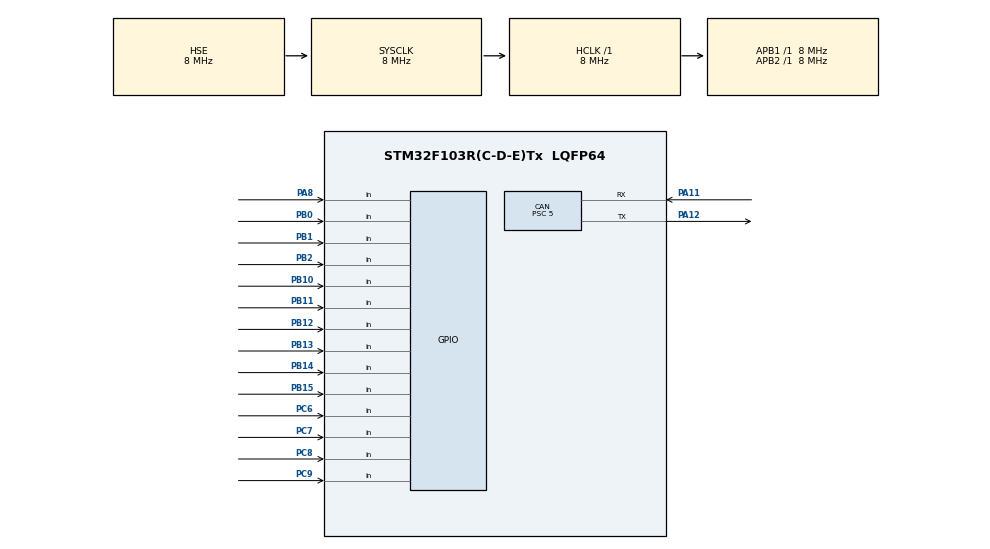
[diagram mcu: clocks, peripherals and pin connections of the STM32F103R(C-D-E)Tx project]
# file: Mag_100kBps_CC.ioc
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CAN.BS1=CAN_BS1_13TQ
CAN.BS2=CAN_BS2_2TQ
CAN.CalculateBaudRate=100000
CAN.CalculateTimeBit=10000
CAN.CalculateTimeQuantum=625.0
CAN.Prescaler=5
Mcu.Family=STM32F1
Mcu.Name=STM32F103R(C-D-E)Tx
Mcu.Package=LQFP64
NVIC.PriorityGroup=NVIC_PRIORITYGROUP_4
NVIC.USB_HP_CAN1_TX_IRQn=true\:0\:0\:false\:false\:true\:true\:true\:true
NVIC.USB_LP_CAN1_RX0_IRQn=true\:0\:0\:false\:false\:true\:true\:true\:true
PA11.Mode=CAN_Activate
PA11.Signal=CAN_RX
PA12.Mode=CAN_Activate
PA12.Signal=CAN_TX
PA13.Mode=Serial_Wire
PA13.Signal=SYS_JTMS-SWDIO
PA14.Mode=Serial_Wire
PA14.Signal=SYS_JTCK-SWCLK
PA8.Signal=GPIO_Input
PB0.Signal=GPIO_Input
PB1.Signal=GPIO_Input
PB10.Signal=GPIO_Input
PB11.Signal=GPIO_Input
PB12.Signal=GPIO_Input
PB13.Signal=GPIO_Input
PB14.Signal=GPIO_Input
PB15.Signal=GPIO_Input
PB2.Signal=GPIO_Input
PC6.Signal=GPIO_Input
PC7.Signal=GPIO_Input
PC8.Signal=GPIO_Input
PC9.Signal=GPIO_Input
PD0-OSC_IN.Mode=HSE-External-Oscillator
PD0-OSC_IN.Signal=RCC_OSC_IN
PD1-OSC_OUT.Mode=HSE-External-Oscillator
PD1-OSC_OUT.Signal=RCC_OSC_OUT
ProjectManager.HeapSize=0x200
ProjectManager.StackSize=0x400
ProjectManager.TargetToolchain=CMake
RCC.AHBFreq_Value=8000000
RCC.APB1Freq_Value=8000000
RCC.APB1TimFreq_Value=8000000
RCC.APB2Freq_Value=8000000
RCC.APB2TimFreq_Value=8000000
RCC.HCLKFreq_Value=8000000
RCC.PLLSourceVirtual=RCC_PLLSOURCE_HSE
RCC.RCC_MCOSource=RCC_MCO1SOURCE_PLLCLK
RCC.SYSCLKFreq_VALUE=8000000
RCC.SYSCLKSource=RCC_SYSCLKSOURCE_HSE
RCC.USBFreq_Value=16000000
board=custom

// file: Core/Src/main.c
/* USER CODE BEGIN Header */
/**
  ******************************************************************************
  * @file           : main.c
  * @brief          : Main program body
  ******************************************************************************
  * @attention
  *
  * Copyright (c) 2026 STMicroelectronics.
  * All rights reserved.
  *
  * This software is licensed under terms that can be found in the LICENSE file
  * in the root directory of this software component.
  * If no LICENSE file comes with this software, it is provided AS-IS.
  *
  ******************************************************************************
  */
/* USER CODE END Header */
#include "main.h"

/* USER CODE BEGIN Includes */
#include <stdint.h>
#include <stdio.h>

/* USER CODE END Includes */

CAN_HandleTypeDef hcan;

/* USER CODE BEGIN PV */
uint8_t Kombinacja = 0;
uint8_t flaga_zmiany_zegara = 0;
uint8_t flaga_zmiany_CAN = 0;
uint8_t flaga_zmiany_DLC = 0;
uint32_t CAN_Prescaler;
CAN_TxHeaderTypeDef TxHeader;
CAN_RxHeaderTypeDef RxHeader;
CAN_TxHeaderTypeDef tempTxHeader;
uint32_t TxMailbox;
uint8_t TxData[8] = {0x55, 0x55, 0x55, 0x55,
                     0x55, 0x55, 0x55, 0x55};
uint8_t RxData[8];
uint8_t temp_TxData[8];
uint32_t StartTick = 0;
uint32_t Delay = 1000;
uint32_t tick = 0;
/* USER CODE END PV */

void SystemClock_Config(void);
static void MX_GPIO_Init(void);
static void MX_CAN_Init(void);
/* USER CODE BEGIN PFP */
void Przestaw_zegar(uint8_t Kombinacja);
void Przestaw_CAN(uint32_t CAN_Prescaler);
/* USER CODE END PFP */

int main(void)
{

  /* MCU Configuration--------------------------------------------------------*/

  /* Reset of all peripherals, Initializes the Flash interface and the Systick. */
  HAL_Init();

  /* Configure the system clock */
  SystemClock_Config();

  /* Initialize all configured peripherals */
  MX_GPIO_Init();
  MX_CAN_Init();
  /* USER CODE BEGIN 2 */

  HAL_CAN_ActivateNotification(&hcan, CAN_IT_RX_FIFO0_MSG_PENDING);
  // Start the CAN peripheral
  HAL_CAN_Start(&hcan);
  // Configure initial CAN message header and data
  TxHeader.StdId = 0xf; // Standard ID
  TxHeader.DLC = 8; // Data length
  TxHeader.IDE = CAN_ID_STD; // Standard ID
  TxHeader.RTR = CAN_RTR_DATA; // Data frame
  /* USER CODE END 2 */

  /* Infinite loop */
  /* USER CODE BEGIN WHILE */
  while (1)
  {
    // Transmit the CAN message
    tick = HAL_GetTick();
    if(tick - StartTick >= Delay)
    {
      StartTick = HAL_GetTick();
      HAL_CAN_AddTxMessage(&hcan, &TxHeader, TxData, &TxMailbox);
    }
    if (flaga_zmiany_zegara)
    {
      Przestaw_zegar(Kombinacja);
      flaga_zmiany_zegara = 0;
    }
    if (flaga_zmiany_CAN)
    {
      Przestaw_CAN(CAN_Prescaler);
      flaga_zmiany_CAN = 0;
    }
    if (flaga_zmiany_DLC)
    {
      TxHeader.DLC = RxData[0]; // DLC can only be between 0 and 8
      flaga_zmiany_DLC = 0;
    }

    /* USER CODE END WHILE */

  }
}

void SystemClock_Config(void)
{
  RCC_OscInitTypeDef RCC_OscInitStruct = {0};
  RCC_ClkInitTypeDef RCC_ClkInitStruct = {0};

  /** Initializes the RCC Oscillators according to the specified parameters
  * in the RCC_OscInitTypeDef structure.
  */
  RCC_OscInitStruct.OscillatorType = RCC_OSCILLATORTYPE_HSE;
  RCC_OscInitStruct.HSEState = RCC_HSE_ON;
  RCC_OscInitStruct.PLL.PLLState = RCC_PLL_NONE;
  if (HAL_RCC_OscConfig(&RCC_OscInitStruct) != HAL_OK)
  {
    Error_Handler();
  }

  /** Initializes the CPU, AHB and APB buses clocks
  */
  RCC_ClkInitStruct.ClockType = RCC_CLOCKTYPE_HCLK|RCC_CLOCKTYPE_SYSCLK
                              |RCC_CLOCKTYPE_PCLK1|RCC_CLOCKTYPE_PCLK2;
  RCC_ClkInitStruct.SYSCLKSource = RCC_SYSCLKSOURCE_HSE;
  RCC_ClkInitStruct.AHBCLKDivider = RCC_SYSCLK_DIV1;
  RCC_ClkInitStruct.APB1CLKDivider = RCC_HCLK_DIV1;
  RCC_ClkInitStruct.APB2CLKDivider = RCC_HCLK_DIV1;

  if (HAL_RCC_ClockConfig(&RCC_ClkInitStruct, FLASH_LATENCY_0) != HAL_OK)
  {
    Error_Handler();
  }
}

static void MX_CAN_Init(void)
{

  hcan.Instance = CAN1;
  hcan.Init.Prescaler = 5;
  hcan.Init.Mode = CAN_MODE_NORMAL;
  hcan.Init.SyncJumpWidth = CAN_SJW_1TQ;
  hcan.Init.TimeSeg1 = CAN_BS1_13TQ;
  hcan.Init.TimeSeg2 = CAN_BS2_2TQ;
  hcan.Init.TimeTriggeredMode = DISABLE;
  hcan.Init.AutoBusOff = DISABLE;
  hcan.Init.AutoWakeUp = DISABLE;
  hcan.Init.AutoRetransmission = DISABLE;
  hcan.Init.ReceiveFifoLocked = DISABLE;
  hcan.Init.TransmitFifoPriority = DISABLE;
  if (HAL_CAN_Init(&hcan) != HAL_OK)
  {
    Error_Handler();
  }
  /* USER CODE BEGIN CAN_Init 2 */
  CAN_FilterTypeDef CanFilterConfig;

  CanFilterConfig.FilterActivation = CAN_FILTER_ENABLE;
  CanFilterConfig.FilterBank = 0;
  CanFilterConfig.FilterFIFOAssignment = CAN_FilterFIFO0;
  CanFilterConfig.FilterIdHigh = 0xFF0 << 5;
  CanFilterConfig.FilterIdLow = 0;
  CanFilterConfig.FilterMaskIdHigh = 0;
  CanFilterConfig.FilterMaskIdLow = 0;
  CanFilterConfig.FilterMode = CAN_FILTERMODE_IDMASK;
  CanFilterConfig.FilterScale = CAN_FILTERSCALE_32BIT;

  if (HAL_CAN_ConfigFilter(&hcan, &CanFilterConfig) != HAL_OK)
  {
    Error_Handler();
  }
  /* USER CODE END CAN_Init 2 */

}

static void MX_GPIO_Init(void)
{
  GPIO_InitTypeDef GPIO_InitStruct = {0};

  /* GPIO Ports Clock Enable */
  __HAL_RCC_GPIOD_CLK_ENABLE();
  __HAL_RCC_GPIOB_CLK_ENABLE();
  __HAL_RCC_GPIOC_CLK_ENABLE();
  __HAL_RCC_GPIOA_CLK_ENABLE();

  /*Configure GPIO pins : PB0 PB1 PB2 PB10
                           PB11 PB12 PB13 PB14
                           PB15 */
  GPIO_InitStruct.Pin = GPIO_PIN_0|GPIO_PIN_1|GPIO_PIN_2|GPIO_PIN_10
                          |GPIO_PIN_11|GPIO_PIN_12|GPIO_PIN_13|GPIO_PIN_14
                          |GPIO_PIN_15;
  GPIO_InitStruct.Mode = GPIO_MODE_INPUT;
  GPIO_InitStruct.Pull = GPIO_NOPULL;
  HAL_GPIO_Init(GPIOB, &GPIO_InitStruct);

  /*Configure GPIO pins : PC6 PC7 PC8 PC9 */
  GPIO_InitStruct.Pin = GPIO_PIN_6|GPIO_PIN_7|GPIO_PIN_8|GPIO_PIN_9;
  GPIO_InitStruct.Mode = GPIO_MODE_INPUT;
  GPIO_InitStruct.Pull = GPIO_NOPULL;
  HAL_GPIO_Init(GPIOC, &GPIO_InitStruct);

  /*Configure GPIO pin : PA8 */
  GPIO_InitStruct.Pin = GPIO_PIN_8;
  GPIO_InitStruct.Mode = GPIO_MODE_INPUT;
  GPIO_InitStruct.Pull = GPIO_NOPULL;
  HAL_GPIO_Init(GPIOA, &GPIO_InitStruct);

}

/* USER CODE BEGIN 4 */

/**
  * @brief Function to switch the system clock to a different frequency (8 MHz, 16 MHz, 32 MHz, or 64 MHz)
  * @param MHz: Desired system clock frequency in MHz (8, 16, 32, or 64)
  * @retval None
*/
void Przestaw_zegar(uint8_t Kombinacja)
{
  RCC_OscInitTypeDef RCC_OscInitStruct = {0}; // Struktura do nowej konfiguracji oscylatorów
  RCC_ClkInitTypeDef RCC_ClkInitStruct = {0}; // Struktura do nowej konfiguracji zegarów
  RCC_OscInitTypeDef RCC_OscInitStructOld = {0}; // Struktura do przechowania oryginalnej konfiguracji oscylatorów
  RCC_ClkInitTypeDef RCC_ClkInitStructOld = {0}; // Struktura do przechowania oryginalnej konfiguracji zegarów
  uint32_t pFlatency;

  /*
    Procedura:
        - Odczytanie aktualnej konfiguracji
        - Włącz HSI, HSE i PLL (HAL_RCC_OscConfig)
        - Ustaw wybrany zegar jako źródło SYSCLK (HAL_RCC_ClockConfig)
        -
        - Przestawienie źródła MCO na SYSCLK (nie będzie tego w programie właściwym)
        - Przestawienie CANa na nowy zegar dla case 10, 11
        - Przestawienie źródła MCO

  */

  // Odczytanie aktualnej konfiguracji
  HAL_RCC_GetClockConfig(&RCC_ClkInitStructOld, &pFlatency);
  HAL_RCC_GetOscConfig(&RCC_OscInitStructOld);

  RCC_ClkInitStruct = RCC_ClkInitStructOld;
  RCC_OscInitStruct = RCC_OscInitStructOld;

  RCC_ClkInitStruct.ClockType = RCC_CLOCKTYPE_HCLK|RCC_CLOCKTYPE_SYSCLK
                              |RCC_CLOCKTYPE_PCLK1|RCC_CLOCKTYPE_PCLK2;
  RCC_OscInitStruct.OscillatorType = RCC_OSCILLATORTYPE_HSE | RCC_OSCILLATORTYPE_HSI;
  // Włącz HSI, HSE i PLL
  RCC_OscInitStruct.HSEState = RCC_HSE_ON;
  RCC_OscInitStruct.HSEPredivValue = RCC_HSE_PREDIV_DIV1;
  RCC_OscInitStruct.HSIState = RCC_HSI_ON;
  RCC_OscInitStruct.PLL.PLLState = RCC_PLL_ON;

  // Ustaw HSI jako źródło SYSCLK (jeśli nie jest) i wszystkie dzielniki na 1
  if(RCC_ClkInitStruct.SYSCLKSource != RCC_SYSCLKSOURCE_HSI)
  {
    RCC_ClkInitStruct.SYSCLKSource = RCC_SYSCLKSOURCE_HSI;
    RCC_ClkInitStruct.AHBCLKDivider = RCC_SYSCLK_DIV1;
    RCC_ClkInitStruct.APB1CLKDivider = RCC_HCLK_DIV1;
    RCC_ClkInitStruct.APB2CLKDivider = RCC_HCLK_DIV1;
    if (HAL_RCC_ClockConfig(&RCC_ClkInitStruct, FLASH_LATENCY_0) != HAL_OK)
    {
      Error_Handler();
    }
  }
  // Przestawienie źródła MCO na SYSCLK (nie będzie tego w programie właściwym)
  // HAL_RCC_MCOConfig(RCC_MCO, RCC_MCO1SOURCE_SYSCLK, RCC_MCODIV_1);
  // Wyłączenie PLLki (jeśli włączona)
  if(RCC_OscInitStruct.PLL.PLLState != RCC_PLL_OFF)
  {
    RCC_OscInitStruct.PLL.PLLState = RCC_PLL_OFF;
    if (HAL_RCC_OscConfig(&RCC_OscInitStruct) != HAL_OK)
    {
      Error_Handler();
    }
  }
  // No i tera można se ustawiać co się chce
  // Wspólne ustawienia dla wszystkich kombinacji
  RCC_OscInitStruct.OscillatorType = RCC_OSCILLATORTYPE_HSE | RCC_OSCILLATORTYPE_HSI;
  RCC_ClkInitStruct.ClockType = RCC_CLOCKTYPE_HCLK|RCC_CLOCKTYPE_SYSCLK
                              |RCC_CLOCKTYPE_PCLK1|RCC_CLOCKTYPE_PCLK2;
  switch (Kombinacja)
  {
    case 0: // Minimalna emisja - Tylko HSI (PLL wyłączone) - punkt odniesienia

      RCC_OscInitStruct.HSEState = RCC_HSE_OFF;
      RCC_OscInitStruct.HSEPredivValue = RCC_HSE_PREDIV_DIV1;
      RCC_OscInitStruct.HSIState = RCC_HSI_ON;
      RCC_OscInitStruct.PLL.PLLState = RCC_PLL_OFF;

      RCC_ClkInitStruct.SYSCLKSource = RCC_SYSCLKSOURCE_HSI;
      RCC_ClkInitStruct.AHBCLKDivider = RCC_SYSCLK_DIV1;
      RCC_ClkInitStruct.APB1CLKDivider = RCC_HCLK_DIV1;

      break;

    case 1: // PLL włączone ale nie wykorzystane jako źródło SYSCLK

      RCC_OscInitStruct.HSEState = RCC_HSE_OFF;
      RCC_OscInitStruct.HSEPredivValue = RCC_HSE_PREDIV_DIV1;
      RCC_OscInitStruct.HSIState = RCC_HSI_ON;
      RCC_OscInitStruct.PLL.PLLState = RCC_PLL_ON;
      RCC_OscInitStruct.PLL.PLLSource = RCC_PLLSOURCE_HSI_DIV2;
      RCC_OscInitStruct.PLL.PLLMUL = RCC_PLL_MUL2;

      RCC_ClkInitStruct.SYSCLKSource = RCC_SYSCLKSOURCE_HSI;
      RCC_ClkInitStruct.AHBCLKDivider = RCC_SYSCLK_DIV1;
      RCC_ClkInitStruct.APB1CLKDivider = RCC_HCLK_DIV1;

      break;

    case 2: // Zbadanie wpływu samej PLLki jako wejścia zegarowego przy utrzymaniu tej samej częstotliwości zegarów

      RCC_OscInitStruct.HSEState = RCC_HSE_OFF;
      RCC_OscInitStruct.HSEPredivValue = RCC_HSE_PREDIV_DIV1;
      RCC_OscInitStruct.HSIState = RCC_HSI_ON;
      RCC_OscInitStruct.PLL.PLLState = RCC_PLL_ON;
      RCC_OscInitStruct.PLL.PLLSource = RCC_PLLSOURCE_HSI_DIV2;
      RCC_OscInitStruct.PLL.PLLMUL = RCC_PLL_MUL2;

      RCC_ClkInitStruct.SYSCLKSource = RCC_SYSCLKSOURCE_HSI;
      RCC_ClkInitStruct.AHBCLKDivider = RCC_SYSCLK_DIV1;
      RCC_ClkInitStruct.APB1CLKDivider = RCC_HCLK_DIV1;
      RCC_ClkInitStruct.SYSCLKSource = RCC_SYSCLKSOURCE_PLLCLK;
      break;

    case 3: // Wpływ (HSI/2) * PLL_mul = SYSClk w casach od 3 do 5

      RCC_OscInitStruct.HSEState = RCC_HSE_OFF;
      RCC_OscInitStruct.HSEPredivValue = RCC_HSE_PREDIV_DIV1;
      RCC_OscInitStruct.HSIState = RCC_HSI_ON;
      RCC_OscInitStruct.PLL.PLLState = RCC_PLL_ON;
      RCC_OscInitStruct.PLL.PLLSource = RCC_PLLSOURCE_HSI_DIV2;
      RCC_OscInitStruct.PLL.PLLMUL = RCC_PLL_MUL4;

      RCC_ClkInitStruct.SYSCLKSource = RCC_SYSCLKSOURCE_PLLCLK;
      RCC_ClkInitStruct.AHBCLKDivider = RCC_SYSCLK_DIV2;
      RCC_ClkInitStruct.APB1CLKDivider = RCC_HCLK_DIV1;

      break;

    case 4: // Wpływ (HSI/2) * PLL_mul = SYSClk w casach od 3 do 5

      RCC_OscInitStruct.HSEState = RCC_HSE_OFF;
      RCC_OscInitStruct.HSEPredivValue = RCC_HSE_PREDIV_DIV1;
      RCC_OscInitStruct.HSIState = RCC_HSI_ON;
      RCC_OscInitStruct.PLL.PLLState = RCC_PLL_ON;
      RCC_OscInitStruct.PLL.PLLSource = RCC_PLLSOURCE_HSI_DIV2;
      RCC_OscInitStruct.PLL.PLLMUL = RCC_PLL_MUL8;

      RCC_ClkInitStruct.SYSCLKSource = RCC_SYSCLKSOURCE_PLLCLK;
      RCC_ClkInitStruct.AHBCLKDivider = RCC_SYSCLK_DIV4;
      RCC_ClkInitStruct.APB1CLKDivider = RCC_HCLK_DIV1;

      break;

    case 5: // Wpływ (HSI/2) * PLL_mul = SYSClk w casach od 3 do 5

      RCC_OscInitStruct.HSEState = RCC_HSE_OFF;
      RCC_OscInitStruct.HSEPredivValue = RCC_HSE_PREDIV_DIV1;
      RCC_OscInitStruct.HSIState = RCC_HSI_ON;
      RCC_OscInitStruct.PLL.PLLState = RCC_PLL_ON;
      RCC_OscInitStruct.PLL.PLLSource = RCC_PLLSOURCE_HSI_DIV2;
      RCC_OscInitStruct.PLL.PLLMUL = RCC_PLL_MUL16;

      RCC_ClkInitStruct.SYSCLKSource = RCC_SYSCLKSOURCE_PLLCLK;
      RCC_ClkInitStruct.AHBCLKDivider = RCC_SYSCLK_DIV8;
      RCC_ClkInitStruct.APB1CLKDivider = RCC_HCLK_DIV1;

      break;

    case 6: // Wpływ HCLK + HSI (pkt 5 jako odniesienie)

      RCC_OscInitStruct.HSEState = RCC_HSE_OFF;
      RCC_OscInitStruct.HSEPredivValue = RCC_HSE_PREDIV_DIV1;
      RCC_OscInitStruct.HSIState = RCC_HSI_ON;
      RCC_OscInitStruct.PLL.PLLState = RCC_PLL_ON;
      RCC_OscInitStruct.PLL.PLLSource = RCC_PLLSOURCE_HSI_DIV2;
      RCC_OscInitStruct.PLL.PLLMUL = RCC_PLL_MUL16;

      RCC_ClkInitStruct.SYSCLKSource = RCC_SYSCLKSOURCE_PLLCLK;
      RCC_ClkInitStruct.AHBCLKDivider = RCC_SYSCLK_DIV1;
      RCC_ClkInitStruct.APB1CLKDivider = RCC_HCLK_DIV8;

      break;

    case 7:

      RCC_OscInitStruct.HSEState = RCC_HSE_OFF;
      RCC_OscInitStruct.HSEPredivValue = RCC_HSE_PREDIV_DIV1;
      RCC_OscInitStruct.HSIState = RCC_HSI_ON;
      RCC_OscInitStruct.PLL.PLLState = RCC_PLL_ON;
      RCC_OscInitStruct.PLL.PLLSource = RCC_PLLSOURCE_HSI_DIV2;
      RCC_OscInitStruct.PLL.PLLMUL = RCC_PLL_MUL16;

      RCC_ClkInitStruct.SYSCLKSource = RCC_SYSCLKSOURCE_PLLCLK;
      RCC_ClkInitStruct.AHBCLKDivider = RCC_SYSCLK_DIV2;
      RCC_ClkInitStruct.APB1CLKDivider = RCC_HCLK_DIV4;

      break;

    case 8:

      RCC_OscInitStruct.HSEState = RCC_HSE_OFF;
      RCC_OscInitStruct.HSEPredivValue = RCC_HSE_PREDIV_DIV1;
      RCC_OscInitStruct.HSIState = RCC_HSI_ON;
      RCC_OscInitStruct.PLL.PLLState = RCC_PLL_ON;
      RCC_OscInitStruct.PLL.PLLSource = RCC_PLLSOURCE_HSI_DIV2;
      RCC_OscInitStruct.PLL.PLLMUL = RCC_PLL_MUL16;

      RCC_ClkInitStruct.SYSCLKSource = RCC_SYSCLKSOURCE_PLLCLK;
      RCC_ClkInitStruct.AHBCLKDivider = RCC_SYSCLK_DIV4;
      RCC_ClkInitStruct.APB1CLKDivider = RCC_HCLK_DIV2;

      break;

    case 9: // Nie działa bo APB1 max 36 MHz, a tu byłoby 64 MHz - Wpływ samego APB1 i APB2

      // RCC_OscInitStruct.HSEState = RCC_HSE_OFF;
      // RCC_OscInitStruct.HSEPredivValue = RCC_HSE_PREDIV_DIV1;
      // RCC_OscInitStruct.HSIState = RCC_HSI_ON;
      // RCC_OscInitStruct.PLL.PLLState = RCC_PLL_ON;
      // RCC_OscInitStruct.PLL.PLLSource = RCC_PLLSOURCE_HSI_DIV2;
      // RCC_OscInitStruct.PLL.PLLMUL = RCC_PLL_MUL16;

      // RCC_ClkInitStruct.SYSCLKSource = RCC_SYSCLKSOURCE_PLLCLK;
      // RCC_ClkInitStruct.AHBCLKDivider = RCC_SYSCLK_DIV1;
      // RCC_ClkInitStruct.APB1CLKDivider = RCC_HCLK_DIV1;

      break;

    case 10: // Wpływ samego APB1 i APB2

      RCC_OscInitStruct.HSEState = RCC_HSE_OFF;
      RCC_OscInitStruct.HSEPredivValue = RCC_HSE_PREDIV_DIV1;
      RCC_OscInitStruct.HSIState = RCC_HSI_ON;
      RCC_OscInitStruct.PLL.PLLState = RCC_PLL_ON;
      RCC_OscInitStruct.PLL.PLLSource = RCC_PLLSOURCE_HSI_DIV2;
      RCC_OscInitStruct.PLL.PLLMUL = RCC_PLL_MUL16;

      RCC_ClkInitStruct.SYSCLKSource = RCC_SYSCLKSOURCE_PLLCLK;
      RCC_ClkInitStruct.AHBCLKDivider = RCC_SYSCLK_DIV1;
      RCC_ClkInitStruct.APB1CLKDivider = RCC_HCLK_DIV2;

      break;

    case 11: // Wpływ samego APB1 i APB2

      RCC_OscInitStruct.HSEState = RCC_HSE_OFF;
      RCC_OscInitStruct.HSEPredivValue = RCC_HSE_PREDIV_DIV1;
      RCC_OscInitStruct.HSIState = RCC_HSI_ON;
      RCC_OscInitStruct.PLL.PLLState = RCC_PLL_ON;
      RCC_OscInitStruct.PLL.PLLSource = RCC_PLLSOURCE_HSI_DIV2;
      RCC_OscInitStruct.PLL.PLLMUL = RCC_PLL_MUL16;

      RCC_ClkInitStruct.SYSCLKSource = RCC_SYSCLKSOURCE_PLLCLK;
      RCC_ClkInitStruct.AHBCLKDivider = RCC_SYSCLK_DIV1;
      RCC_ClkInitStruct.APB1CLKDivider = RCC_HCLK_DIV4;

      break;

    case 12: // Wpływ samego włączenia HSE bez podłączenia do PLL i źródło sysclk dalej HSI (odnieść do pktu 0)

      RCC_OscInitStruct.HSEState = RCC_HSE_ON;
      RCC_OscInitStruct.HSEPredivValue = RCC_HSE_PREDIV_DIV1;
      RCC_OscInitStruct.HSIState = RCC_HSI_ON;
      RCC_OscInitStruct.PLL.PLLState = RCC_PLL_OFF;

      RCC_ClkInitStruct.SYSCLKSource = RCC_SYSCLKSOURCE_HSI;
      RCC_ClkInitStruct.AHBCLKDivider = RCC_SYSCLK_DIV1;
      RCC_ClkInitStruct.APB1CLKDivider = RCC_HCLK_DIV1;

      break;

    case 13: // Podłączenie HSE jako wejścia SYSCLK (bez PLLki)
      RCC_OscInitStruct.HSEState = RCC_HSE_ON;
      RCC_OscInitStruct.HSEPredivValue = RCC_HSE_PREDIV_DIV1;
      RCC_OscInitStruct.HSIState = RCC_HSI_ON;
      RCC_OscInitStruct.PLL.PLLState = RCC_PLL_OFF;

      RCC_ClkInitStruct.SYSCLKSource = RCC_SYSCLKSOURCE_HSE;
      RCC_ClkInitStruct.AHBCLKDivider = RCC_SYSCLK_DIV1;
      RCC_ClkInitStruct.APB1CLKDivider = RCC_HCLK_DIV1;

      break;

    case 14: // Wyłączenie HSI i wykorzystanie HSE zamiast niego jako wejścia SYSCLK (Porównać z pkt 0)
      // Edge case. Wyłączenie HSI bez wcześniejszego włączenia HSE i Ustawienia jako źródła SYSCLK wywala HAL_ERROR
      // Włącz HSE i ustaw HSE jako źródło SYSCLK
      RCC_OscInitStruct.HSEState = RCC_HSE_ON;
      RCC_ClkInitStruct.SYSCLKSource = RCC_SYSCLKSOURCE_HSE;
      if (HAL_RCC_OscConfig(&RCC_OscInitStruct) != HAL_OK)
      {
        Error_Handler();
      }
      if (HAL_RCC_ClockConfig(&RCC_ClkInitStruct, FLASH_LATENCY_0) != HAL_OK)
      {
        Error_Handler();
      }
      RCC_OscInitStruct.HSEState = RCC_HSE_ON;
      RCC_OscInitStruct.HSEPredivValue = RCC_HSE_PREDIV_DIV1;
      RCC_OscInitStruct.HSIState = RCC_HSI_OFF;
      RCC_OscInitStruct.PLL.PLLState = RCC_PLL_OFF;

      RCC_ClkInitStruct.SYSCLKSource = RCC_SYSCLKSOURCE_HSE;
      RCC_ClkInitStruct.AHBCLKDivider = RCC_SYSCLK_DIV1;
      RCC_ClkInitStruct.APB1CLKDivider = RCC_HCLK_DIV1;

      break;

    case 15: // HSE przez PLL jako źródło SYSCLK (dzielone przez 2 żeby sysclk był 8)
      // Edge case. Wyłączenie HSI bez wcześniejszego włączenia HSE i Ustawienia jako źródła SYSCLK wywala HAL_ERROR
      // Włącz HSE i ustaw HSE jako źródło SYSCLK
      RCC_OscInitStruct.HSEState = RCC_HSE_ON;
      RCC_ClkInitStruct.SYSCLKSource = RCC_SYSCLKSOURCE_HSE;
      if (HAL_RCC_OscConfig(&RCC_OscInitStruct) != HAL_OK)
      {
        Error_Handler();
      }
      if (HAL_RCC_ClockConfig(&RCC_ClkInitStruct, FLASH_LATENCY_0) != HAL_OK)
      {
        Error_Handler();
      }
      RCC_OscInitStruct.HSEPredivValue = RCC_HSE_PREDIV_DIV2;
      RCC_OscInitStruct.HSIState = RCC_HSI_OFF;
      RCC_OscInitStruct.PLL.PLLState = RCC_PLL_ON;
      RCC_OscInitStruct.PLL.PLLSource = RCC_PLLSOURCE_HSE;
      RCC_OscInitStruct.PLL.PLLMUL = RCC_PLL_MUL2;

      RCC_ClkInitStruct.SYSCLKSource = RCC_SYSCLKSOURCE_PLLCLK;
      RCC_ClkInitStruct.AHBCLKDivider = RCC_SYSCLK_DIV1;
      RCC_ClkInitStruct.APB1CLKDivider = RCC_HCLK_DIV1;

      break;

    case 16: // Konfiguracja bazowa do testów bitrate CANa

      // Edge case. Wyłączenie HSI bez wcześniejszego włączenia HSE i Ustawienia jako źródła SYSCLK wywala HAL_ERROR
      RCC_OscInitStruct.HSEState = RCC_HSE_ON;
      RCC_ClkInitStruct.SYSCLKSource = RCC_SYSCLKSOURCE_HSE;
      if (HAL_RCC_OscConfig(&RCC_OscInitStruct) != HAL_OK)
      {
        Error_Handler();
      }
      if (HAL_RCC_ClockConfig(&RCC_ClkInitStruct, FLASH_LATENCY_0) != HAL_OK)
      {
        Error_Handler();
      }
      RCC_OscInitStruct.HSEState = RCC_HSE_ON;
      RCC_OscInitStruct.HSEPredivValue = RCC_HSE_PREDIV_DIV1;
      RCC_OscInitStruct.HSIState = RCC_HSI_OFF;
      RCC_OscInitStruct.PLL.PLLState = RCC_PLL_ON;
      RCC_OscInitStruct.PLL.PLLSource = RCC_PLLSOURCE_HSE;
      RCC_OscInitStruct.PLL.PLLMUL = RCC_PLL_MUL2;

      RCC_ClkInitStruct.SYSCLKSource = RCC_SYSCLKSOURCE_PLLCLK;
      RCC_ClkInitStruct.AHBCLKDivider = RCC_SYSCLK_DIV1;
      RCC_ClkInitStruct.APB1CLKDivider = RCC_HCLK_DIV1;

  }

  // Ustawienie APB2CLKDivider na tę samą wartość co APB1CLKDivider
  RCC_ClkInitStruct.APB2CLKDivider = RCC_ClkInitStruct.APB1CLKDivider;

  int CLK_IN = 8; // MHz - częstotliwość wejściowa zegara (HSI lub HSE, w zależności od konfiguracji)
  int sysclk_freq = 0;

  // Obliczenie mnożnika PLL
  int PLL_multiplier = 1;
  if(RCC_OscInitStruct.PLL.PLLState == RCC_PLL_ON)
  {
    switch (RCC_OscInitStruct.PLL.PLLMUL)
    {
      case RCC_PLL_MUL2:
        PLL_multiplier = 2;
        break;
      case RCC_PLL_MUL3:
        PLL_multiplier = 3;
        break;
      case RCC_PLL_MUL4:
        PLL_multiplier = 4;
        break;
      case RCC_PLL_MUL5:
        PLL_multiplier = 5;
        break;
      case RCC_PLL_MUL6:
        PLL_multiplier = 6;
        break;
      case RCC_PLL_MUL7:
        PLL_multiplier = 7;
        break;
      case RCC_PLL_MUL8:
        PLL_multiplier = 8;
        break;
      case RCC_PLL_MUL9:
        PLL_multiplier = 9;
        break;
      case RCC_PLL_MUL10:
        PLL_multiplier = 10;
        break;
      case RCC_PLL_MUL11:
        PLL_multiplier = 11;
        break;
      case RCC_PLL_MUL12:
        PLL_multiplier = 12;
        break;
      case RCC_PLL_MUL13:
        PLL_multiplier = 13;
        break;
      case RCC_PLL_MUL14:
        PLL_multiplier = 14;
        break;
      case RCC_PLL_MUL15:
        PLL_multiplier = 15;
        break;
      case RCC_PLL_MUL16:
        PLL_multiplier = 16;
        break;
    }
  }
  // Przypisanie wartości rzeczywistej dzielnika HSEPrediv
  int HSEPrediv = 1;
  if(RCC_OscInitStruct.HSEPredivValue == RCC_HSE_PREDIV_DIV1)
  {
    HSEPrediv = 1;
  }
  else if(RCC_OscInitStruct.HSEPredivValue == RCC_HSE_PREDIV_DIV2)
  {
    HSEPrediv = 2;
  }

  // Obliczenie częstotliwości SYSCLK w oparciu o aktualną konfigurację
  switch (RCC_ClkInitStruct.SYSCLKSource)
  {
    case RCC_SYSCLKSOURCE_HSI: // sysclk = HSI
      sysclk_freq = CLK_IN;
      break;
    case RCC_SYSCLKSOURCE_HSE: // sysclk = HSE
      sysclk_freq = CLK_IN;
      break;
    case RCC_SYSCLKSOURCE_PLLCLK: // sysclk = PLLCLK, PLLCLK = [(HSI/2) * pllmul or (HSE / HSEPrediv) * pllmul]
      if (RCC_OscInitStruct.PLL.PLLSource == RCC_PLLSOURCE_HSI_DIV2)
      {
        sysclk_freq = (CLK_IN / 2) * PLL_multiplier;
      }
      else if(RCC_OscInitStruct.PLL.PLLSource == RCC_PLLSOURCE_HSE)
      {
        sysclk_freq = (CLK_IN / HSEPrediv) * PLL_multiplier;
      }
      break;
  }

  /*
  - 0 wait states, if 0 < SYSCLK <= 24 MHz
  - 1 wait state, if 24 MHz < SYSCLK <= 48 MHz
  - 2 wait states, if 48 MHz < SYSCLK <= 72 MHz
  */
  if (sysclk_freq <= 24) {
    pFlatency = FLASH_LATENCY_0;
  } else if (sysclk_freq <= 48) {
    pFlatency = FLASH_LATENCY_1;
  } else {
    pFlatency = FLASH_LATENCY_2;
  }

  if (HAL_RCC_OscConfig(&RCC_OscInitStruct) != HAL_OK)
  {
    Error_Handler();
  }
  if (HAL_RCC_ClockConfig(&RCC_ClkInitStruct, pFlatency) != HAL_OK)
  {
    Error_Handler();
  }

  // if(sysclk_freq >= 48)
  // {
  //   HAL_RCC_MCOConfig(RCC_MCO, RCC_MCO1SOURCE_PLLCLK, RCC_MCODIV_1);
  // }
  // else {
  //   HAL_RCC_MCOConfig(RCC_MCO, RCC_MCO1SOURCE_SYSCLK, RCC_MCODIV_1);
  // }

  // Dla kombinacji 10 prescaler = 20, dla 11 i 16 prescaler = 10 w celu utrzymania stałego bitrate
  if(Kombinacja == 10)
  {
    hcan.Init.Prescaler = 20;
    HAL_CAN_Stop(&hcan);
    if (HAL_CAN_Init(&hcan) != HAL_OK)
    {
      Error_Handler();
    }
    HAL_CAN_Start(&hcan);
  }
  else if(Kombinacja == 11 || Kombinacja == 16)
  {
    hcan.Init.Prescaler = 10;
    HAL_CAN_Stop(&hcan);
    if (HAL_CAN_Init(&hcan) != HAL_OK)
    {
      Error_Handler();
    }
    HAL_CAN_Start(&hcan);
  }

  // Wysłanie aktualnej konfiguracji zegara w wiadomości CAN o ID 0x0
  tempTxHeader.StdId = 0x0;
  tempTxHeader.DLC = 1;
  tempTxHeader.IDE = CAN_ID_STD;
  tempTxHeader.RTR = CAN_RTR_DATA;
  temp_TxData[0] = Kombinacja;
  HAL_CAN_AddTxMessage(&hcan, &tempTxHeader, temp_TxData, &TxMailbox);
  HAL_Delay(1000);

}

void Przestaw_CAN(uint32_t CAN_Prescaler)
{
  hcan.Init.Prescaler = CAN_Prescaler;
  HAL_CAN_Stop(&hcan);
  if (HAL_CAN_Init(&hcan) != HAL_OK)
  {
    Error_Handler();
  }
  HAL_CAN_Start(&hcan);
  tempTxHeader.StdId = 0x1;
  tempTxHeader.DLC = 1;
  tempTxHeader.IDE = CAN_ID_STD;
  tempTxHeader.RTR = CAN_RTR_DATA;
  temp_TxData[0] = CAN_Prescaler; // Wysyłanie aktualnego prescalera w pierwszym bajcie danych wiadomości CAN
  HAL_CAN_AddTxMessage(&hcan, &tempTxHeader, temp_TxData, &TxMailbox);
  HAL_Delay(1000);
}

void HAL_CAN_RxFifo0MsgPendingCallback(CAN_HandleTypeDef *hcan)
{
  HAL_CAN_GetRxMessage(hcan, CAN_RX_FIFO0, &RxHeader, RxData);
  // Identyfikator wiadomości konfiguracyjnej: 0x0 , dane: 1 bajt określający konfigurację zegara
  if(RxHeader.StdId == 0x0)
  {
    Kombinacja = RxData[0];
    flaga_zmiany_zegara = 1;
  }
  else if (RxHeader.StdId == 0x1)
  {
    CAN_Prescaler = RxData[0];
    flaga_zmiany_CAN = 1;
  }
  else if (RxHeader.StdId == 0x2)
  {
    TxHeader.DLC = RxData[0];
    flaga_zmiany_DLC = 1;
  }
  else if (RxHeader.StdId == 0x3)
  {
    Delay = RxData[0];
  }
}
/* USER CODE END 4 */

void Error_Handler(void)
{
  __disable_irq();
  while (1)
  {
  }
}

#ifdef  USE_FULL_ASSERT
/**
  * @brief  Reports the name of the source file and the source line number
  *         where the assert_param error has occurred.
  * @param  file: pointer to the source file name
  * @param  line: assert_param error line source number
  * @retval None
  */
void assert_failed(uint8_t *file, uint32_t line)
{
  /* USER CODE BEGIN 6 */
  /* User can add his own implementation to report the file name and line number,
     ex: printf("Wrong parameters value: file %s on line %d\r\n", file, line) */
     printf("Wrong parameters value: file %s on line %d\r\n", file, line);
  /* USER CODE END 6 */
}
#endif /* USE_FULL_ASSERT */
